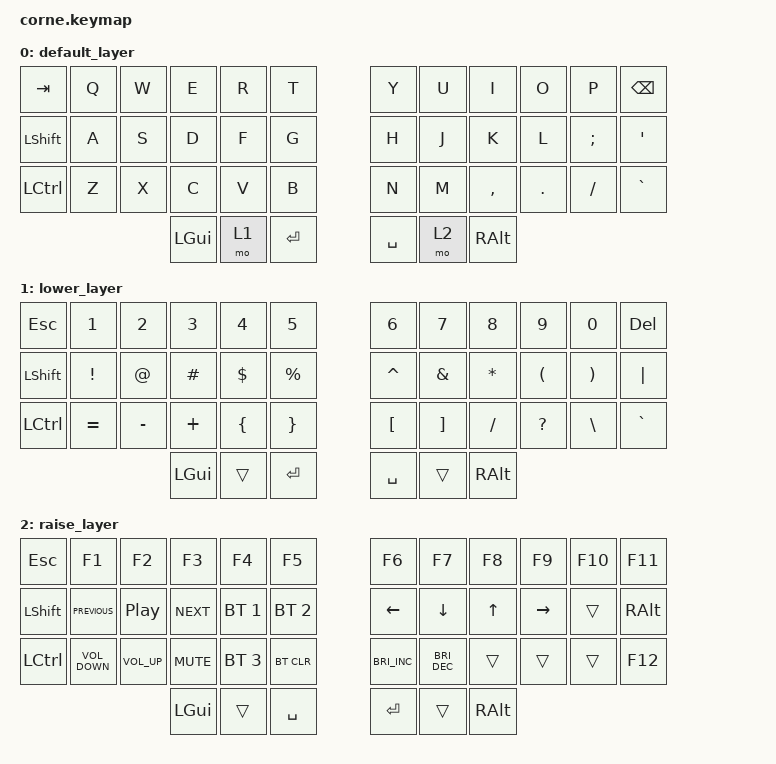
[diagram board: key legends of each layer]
/*
 * Copyright (c) 2020 The ZMK Contributors
 *
 * SPDX-License-Identifier: MIT
 */

#include <behaviors.dtsi>
#include <dt-bindings/zmk/bt.h>
#include <dt-bindings/zmk/keys.h>

/ {
    combos {
        compatible = "zmk,combos";

        combo_esc {
            timeout-ms = <50>;
            key-positions = <0 1>;
            bindings = <&kp ESC>;
        };
    };

    behaviors {
        ss_hs_modmorph: ss_hs_modmorph {
            compatible = "zmk,behavior-mod-morph";
            label = "SS_HS_MODMORPH";
            bindings = <&kp M>, <&kp RIGHT_BRACKET>;

            #binding-cells = <0>;
            mods = <(MOD_LSFT|MOD_RSFT)>;
        };

        kh_hs_tapdance: kh_hs_tapdance {
            compatible = "zmk,behavior-tap-dance";
            label = "KH_HS_TAPDANCE";
            #binding-cells = <0>;
            tapping-term-ms = <200>;
            bindings = <&kp LEFT_BRACKET>, <&kp RIGHT_BRACKET>;
        };

        hrm: hrm {
            compatible = "zmk,behavior-hold-tap";
            #binding-cells = <2>;
            flavor = "tap-preferred";
            tapping-term-ms = <200>;
            quick-tap-ms = <200>;
            require-prior-idle-ms = <125>;
            bindings = <&kp>, <&kp>;
        };
    };

    keymap {
        compatible = "zmk,keymap";

        default_layer {
            // -----------------------------------------------------------------------------------------
            // |  TAB |  Q  |  W  |  E  |  R  |  T  |   |  Y  |  U   |  I  |  O  |  P  | BKSP |
            // | CTRL |  A  |  S  |  D  |  F  |  G  |   |  H  |  J   |  K  |  L  |  ;  |  '   |
            // | SHFT |  Z  |  X  |  C  |  V  |  B  |   |  N  |  M   |  ,  |  .  |  /  | ESC  |
            //                    | GUI | LWR | SPC |   | ENT | RSE  | ALT |

            bindings = <
&kp TAB    &kp Q  &kp W  &kp E     &kp R  &kp T      &kp Y      &kp U  &kp I      &kp O    &kp P     &kp BSPC
&kp LSHFT  &kp A  &kp S  &kp D     &kp F  &kp G      &kp H      &kp J  &kp K      &kp L    &kp SEMI  &kp SQT
&kp LCTRL  &kp Z  &kp X  &kp C     &kp V  &kp B      &kp N      &kp M  &kp COMMA  &kp DOT  &kp FSLH  &kp GRAVE
                         &kp LGUI  &mo 1  &kp RET    &kp SPACE  &mo 2  &kp RALT
            >;
        };

        lower_layer {
            bindings = <
&kp ESC    &kp N1     &kp N2     &kp N3    &kp N4          &kp N5             &kp N6     &kp N7         &kp N8    &kp N9                &kp N0                 &kp DELETE
&kp LSHFT  &kp EXCL   &kp AT     &kp HASH  &kp DOLLAR      &kp PERCENT        &kp CARET  &kp AMPERSAND  &kp STAR  &kp LEFT_PARENTHESIS  &kp RIGHT_PARENTHESIS  &kp PIPE
&kp LCTRL  &kp EQUAL  &kp MINUS  &kp PLUS  &kp LEFT_BRACE  &kp RIGHT_BRACE    &kp LBKT   &kp RBKT       &kp FSLH  &kp QUESTION          &kp BSLH               &kp GRAVE
                                 &kp LGUI  &trans          &kp RET            &kp SPACE  &trans         &kp RALT
            >;
        };

        raise_layer {
            // -----------------------------------------------------------------------------------------
            // |  TAB |  1  |  2  |  3  |  4  |  5  |   |  6  |  7  |  8  |  9  |  0  | BKSP |
            // | BTCLR| BT1 | BT2 | BT3 | BT4 | BT5 |   | LFT | DWN |  UP | RGT |     |      |
            // | SHFT |     |     |     |     |     |   |     |     |     |     |     |      |
            //                    | GUI |     | SPC |   | ENT |     | ALT |

            bindings = <
&kp ESCAPE  &kp F1             &kp F2            &kp F3      &kp F4        &kp F5          &kp F6                &kp F7                &kp F8    &kp F9     &kp F10  &kp F11
&kp LSHFT   &kp C_PREVIOUS     &kp C_PLAY_PAUSE  &kp C_NEXT  &bt BT_SEL 1  &bt BT_SEL 2    &kp LEFT              &kp DOWN              &kp UP    &kp RIGHT  &trans   &kp RALT
&kp LCTRL   &kp C_VOLUME_DOWN  &kp C_VOLUME_UP   &kp K_MUTE  &bt BT_SEL 3  &bt BT_CLR      &kp C_BRIGHTNESS_INC  &kp C_BRIGHTNESS_DEC  &trans    &trans     &trans   &kp F12
                                                 &kp LGUI    &trans        &kp SPACE       &kp RET               &trans                &kp RALT
            >;
        };
    };
};
